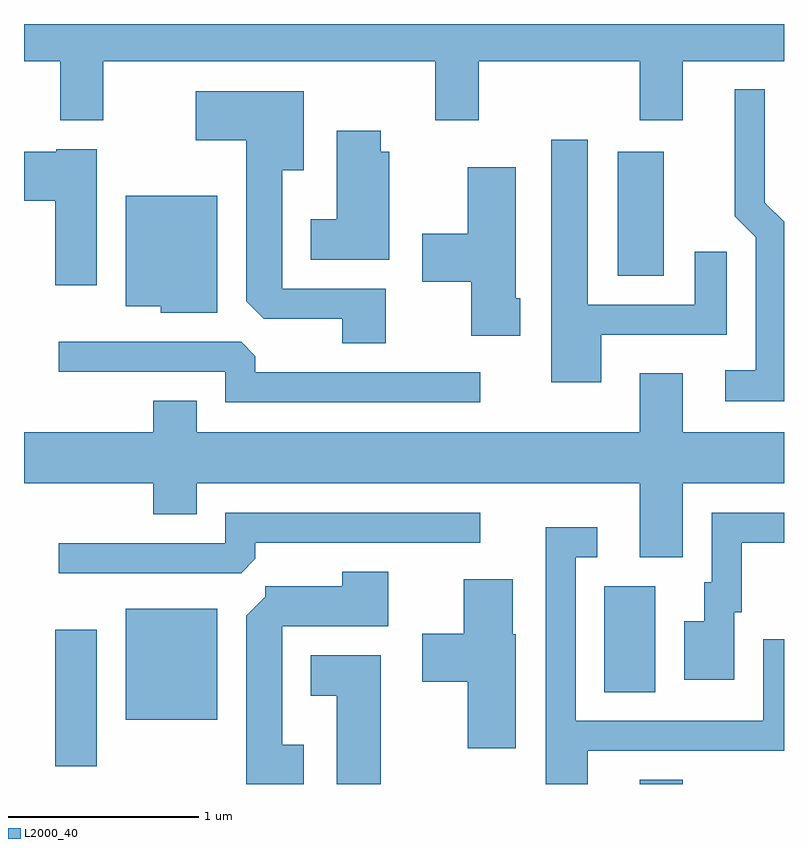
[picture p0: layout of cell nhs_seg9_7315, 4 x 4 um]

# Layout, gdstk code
import gdstk
lib = gdstk.Library(unit=1e-6, precision=1e-09)
def R(c, l, rs):  # rectangles x0, y0, x1, y1
    for r in rs: c.add(gdstk.rectangle(r[:2], r[2:], *l))
def P(c, l, *ps):  # polygons
    for p in ps: c.add(gdstk.Polygon(p, *l))
L2000_40 = (2000, 40)

nhs_seg9_7315 = lib.new_cell('nhs_seg9_7315')
R(nhs_seg9_7315, L2000_40, [(404.851,2012.432,405.079,2012.454), (401.776,2012.526,401.994,2013.244), (402.146,2012.771,402.629,2013.354), (404.666,2012.916,404.934,2013.474), (404.736,2015.106,404.979,2015.759)])
P(nhs_seg9_7315, L2000_40, [(402.029,2016.236),(403.776,2016.236),(403.776,2015.926),(404.004,2015.926),(404.004,2016.236),(404.851,2016.236),(404.851,2015.926),(405.079,2015.926),(405.079,2016.236),(405.611,2016.236),(405.611,2016.432),(401.611,2016.432),(401.611,2016.236),(401.801,2016.236),(401.801,2015.926),(402.029,2015.926)],
  [(405.611,2015.39),(405.509,2015.492),(405.509,2016.088),(405.351,2016.088),(405.351,2015.419),(405.461,2015.309),(405.461,2014.609),(405.303,2014.609),(405.303,2014.446),(405.611,2014.446)],
  [(403.514,2015.039),(402.969,2015.039),(402.969,2015.661),(403.084,2015.661),(403.084,2016.079),(402.516,2016.079),(402.516,2015.821),(402.781,2015.821),(402.781,2014.972),(402.872,2014.881),(403.286,2014.881),(403.286,2014.751),(403.514,2014.751)],
  [(403.534,2015.759),(403.489,2015.759),(403.489,2015.869),(403.256,2015.869),(403.256,2015.404),(403.121,2015.404),(403.121,2015.191),(403.534,2015.191)],
  [(404.649,2014.796),(405.309,2014.796),(405.309,2015.233),(405.141,2015.233),(405.141,2014.954),(404.579,2014.954),(404.579,2015.824),(404.386,2015.824),(404.386,2014.546),(404.649,2014.546)],
  [(401.994,2015.774),(401.78,2015.774),(401.78,2015.759),(401.611,2015.759),(401.611,2015.501),(401.776,2015.501),(401.776,2015.056),(401.994,2015.056)],
  [(404.224,2014.989),(404.199,2014.989),(404.199,2015.679),(403.946,2015.679),(403.946,2015.329),(403.706,2015.329),(403.706,2015.076),(403.966,2015.076),(403.966,2014.791),(404.224,2014.791)],
  [(402.629,2015.529),(402.146,2015.529),(402.146,2014.946),(402.331,2014.946),(402.331,2014.911),(402.629,2014.911)],
  [(404.013,2014.599),(402.829,2014.599),(402.829,2014.684),(402.754,2014.759),(401.793,2014.759),(401.793,2014.601),(402.671,2014.601),(402.671,2014.441),(404.013,2014.441)],
  [(405.079,2014.016),(405.611,2014.016),(405.611,2014.284),(405.079,2014.284),(405.079,2014.594),(404.851,2014.594),(404.851,2014.284),(402.519,2014.284),(402.519,2014.449),(402.291,2014.449),(402.291,2014.284),(401.611,2014.284),(401.611,2014.016),(402.291,2014.016),(402.291,2013.851),(402.519,2013.851),(402.519,2014.016),(404.851,2014.016),(404.851,2013.626),(405.079,2013.626)],
  [(405.349,2013.336),(405.389,2013.336),(405.389,2013.701),(405.611,2013.701),(405.611,2013.859),(405.231,2013.859),(405.231,2013.494),(405.191,2013.494),(405.191,2013.289),(405.086,2013.289),(405.086,2012.981),(405.349,2012.981)],
  [(402.829,2013.617),(402.829,2013.701),(404.013,2013.701),(404.013,2013.859),(402.671,2013.859),(402.671,2013.699),(401.793,2013.699),(401.793,2013.541),(402.754,2013.541)],
  [(404.579,2012.606),(405.611,2012.606),(405.611,2013.193),(405.501,2013.193),(405.501,2012.764),(404.514,2012.764),(404.514,2013.626),(404.628,2013.626),(404.628,2013.784),(404.356,2013.784),(404.356,2012.432),(404.579,2012.432)],
  [(403.084,2012.639),(402.969,2012.639),(402.969,2013.261),(403.529,2013.261),(403.529,2013.549),(403.286,2013.549),(403.286,2013.474),(402.881,2013.474),(402.881,2013.417),(402.781,2013.317),(402.781,2012.432),(403.084,2012.432)],
  [(404.199,2013.22),(404.184,2013.22),(404.184,2013.509),(403.926,2013.509),(403.926,2013.224),(403.706,2013.224),(403.706,2012.971),(403.946,2012.971),(403.946,2012.621),(404.199,2012.621)],
  [(403.489,2013.109),(403.121,2013.109),(403.121,2012.896),(403.256,2012.896),(403.256,2012.432),(403.489,2012.432)])

lib.write_gds('nhs_seg9_7315.gds')
